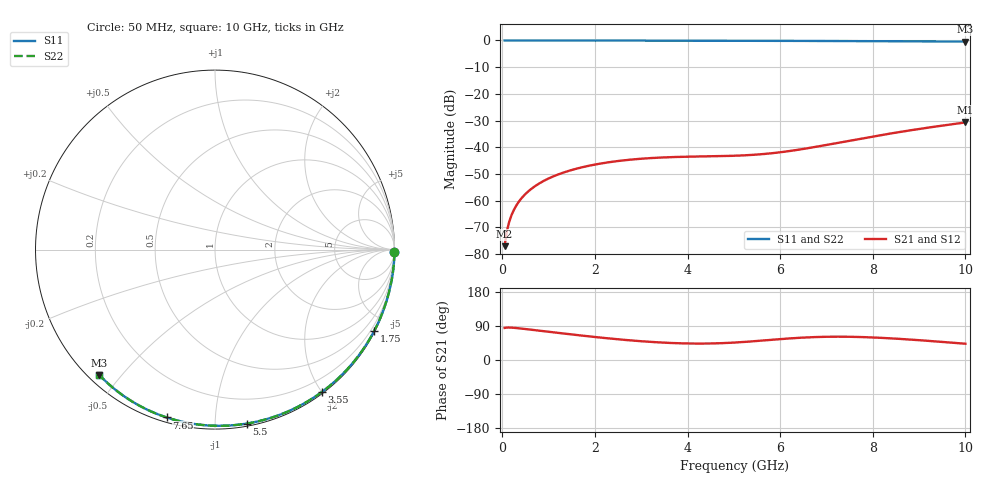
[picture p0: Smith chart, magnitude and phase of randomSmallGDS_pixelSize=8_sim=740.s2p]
! freq	dB(S11)	phase(S11)	dB(S12)	phase(S12)
!  dB(S21)	phase(S21)	dB(S22)	phase(S22)
!S-par simulation data
#  GHz  S  DB  R 50
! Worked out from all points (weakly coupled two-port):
!   200 points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, 50 MHz to 10 GHz, reference 50 ohm
!   highest |S21| = -30.72 dB at 10 GHz (marker M1); lowest = -77.1 dB at 50 MHz (marker M2)
!   lowest |S11| = -0.4 dB at 10 GHz (marker M3), VSWR 39.45, Z = 1.51 - j21.8 ohm
!   |S11| at or under -10 dB: nowhere
!   |S22| runs from -0.4 to 0.0 dB; largest |S21 - S12| = 0
!   S11 on the Smith chart (normalised r, x): 50 MHz: open; 1.75 GHz: 0.04, -4.18; 3.55 GHz: 0.02, -2.00; 5.5 GHz: 0.02, -1.20; 7.65 GHz: 0.02, -0.75; 10 GHz: 0.03, -0.44
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0.05  -0.00 -0.8  -77.06 84.6  -77.06 84.6  -0.00 -0.8
0.1  -0.00 -1.6  -71.31 85.6  -71.31 85.6  -0.00 -1.6
0.15  -0.00 -2.3  -67.86 85.7  -67.86 85.7  -0.00 -2.3
0.2  -0.00 -3.1  -65.39 85.4  -65.39 85.4  -0.00 -3.1
0.25  -0.00 -3.9  -63.47 85.0  -63.47 85.0  -0.00 -3.9
0.35  -0.00 -5.5  -60.57 83.8  -60.57 83.8  -0.00 -5.5
0.5  -0.01 -7.8  -57.51 81.7  -57.51 81.7  -0.01 -7.8
0.7  -0.01 -10.9  -54.66 78.9  -54.66 78.9  -0.01 -10.9
1  -0.02 -15.5  -51.70 74.5  -51.70 74.5  -0.02 -15.5
1.35  -0.03 -20.9  -49.31 69.5  -49.31 69.5  -0.03 -20.9
1.75  -0.03 -26.9  -47.39 64.0  -47.39 64.0  -0.03 -26.9
2.5  -0.05 -38.1  -45.15 54.6  -45.15 54.6  -0.05 -38.1
3.4  -0.07 -51.1  -43.88 46.4  -43.88 46.4  -0.07 -51.1
3.55  -0.07 -53.2  -43.77 45.4  -43.77 45.4  -0.07 -53.2
4.3  -0.09 -63.7  -43.45 43.3  -43.45 43.3  -0.09 -63.7
5.05  -0.11 -73.7  -43.16 46.3  -43.16 46.3  -0.11 -73.7
5.5  -0.13 -79.6  -42.74 50.2  -42.74 50.2  -0.13 -79.6
6.05  -0.15 -86.6  -41.78 55.6  -41.78 55.6  -0.15 -86.6
6.7  -0.18 -94.7  -40.06 60.2  -40.06 60.2  -0.18 -94.7
7.65  -0.24 -106.1  -37.07 60.9  -37.07 60.9  -0.24 -106.1
8.35  -0.29 -114.2  -34.95 57.4  -34.95 57.4  -0.29 -114.2
10  -0.44 -132.8  -30.72 42.9  -30.72 42.9  -0.44 -132.8
